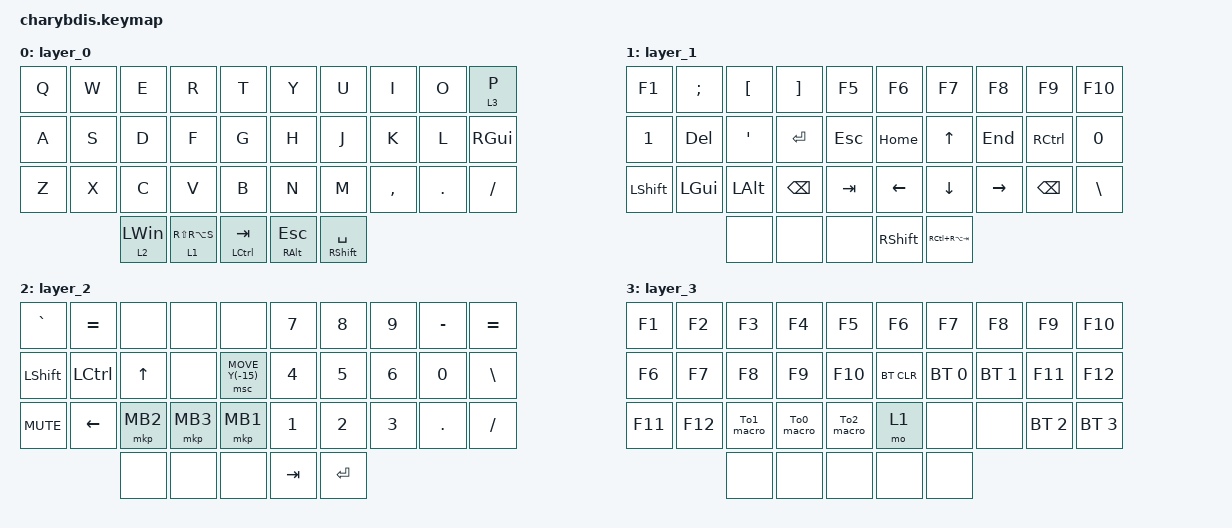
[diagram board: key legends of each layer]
#include <behaviors.dtsi>
#include <dt-bindings/zmk/bt.h>
#include <dt-bindings/zmk/keys.h>
#include <dt-bindings/zmk/pointing.h>
#include <dt-bindings/zmk/rgb.h>

&lt {
    tapping-term-ms = <200>;
    flavor = "balanced";
    quick-tap-ms = <150>;
};

/ {
    macros {
        To1_macro: To1_macro {
            compatible = "zmk,behavior-macro";
            label = "To1_macro";
            #binding-cells = <0>;
            bindings = <&rgb_ug RGB_EFF &rgb_ug RGB_COLOR_HSB(128,100,50) &to 1>;
        };

        To0_macro: To0_macro {
            compatible = "zmk,behavior-macro";
            label = "To0_macro";
            #binding-cells = <0>;
            bindings = <&rgb_ug RGB_EFR &to 0>;
        };

        To2_macro: To2_macro {
            compatible = "zmk,behavior-macro";
            label = "To2_macro";
            #binding-cells = <0>;
            bindings =
                <&to 0>,
                <&macro_wait_time 30>,
                <&rgb_ug RGB_COLOR_HSB(250,100,50)>;
        };
    };

    keymap {
        compatible = "zmk,keymap";

        layer_0 {
            bindings = <
&kp Q  &kp W  &kp E           &kp R            &kp T            &kp Y                 &kp U                  &kp I      &kp O    &lt 3 P
&kp A  &kp S  &kp D           &kp F            &kp G            &kp H                 &kp J                  &kp K      &kp L    &kp RIGHT_GUI
&kp Z  &kp X  &kp C           &kp V            &kp B            &kp N                 &kp M                  &kp COMMA  &kp DOT  &kp FSLH
              &lt 2 LEFT_WIN  &lt 1 RS(RA(S))  &mt LCTRL TAB    &mt RIGHT_ALT ESCAPE  &mt RIGHT_SHIFT SPACE
            >;
        };

        layer_1 {
            bindings = <
&kp F1          &kp SEMICOLON  &kp LEFT_BRACKET  &kp RIGHT_BRACKET  &kp F5        &kp F6           &kp F7           &kp F8           &kp F9         &kp F10
&kp N1          &kp DELETE     &kp SQT           &kp ENTER          &kp ESCAPE    &kp HOME         &kp UP_ARROW     &kp END          &kp RCTRL      &kp N0
&kp LEFT_SHIFT  &kp LEFT_GUI   &kp LEFT_ALT      &kp BACKSPACE      &kp TAB       &kp LEFT_ARROW   &kp DOWN_ARROW   &kp RIGHT_ARROW  &kp BACKSPACE  &kp BACKSLASH
                               &none             &none              &none         &kp RIGHT_SHIFT  &kp RC(RA(TAB))
            >;
        };

        layer_2 {
            bindings = <
&kp GRAVE       &kp EQUAL       &none         &none     &none               &kp N7        &kp N8        &kp N9        &kp MINUS   &kp EQUAL
&kp LEFT_SHIFT  &kp LCTRL       &kp UP_ARROW  &none     &msc MOVE_Y(-15)    &kp NUMBER_4  &kp N5        &kp NUMBER_6  &kp N0      &kp BACKSLASH
&kp K_MUTE      &kp LEFT_ARROW  &mkp MB2      &mkp MB3  &mkp MB1            &kp NUMBER_1  &kp NUMBER_2  &kp NUMBER_3  &kp PERIOD  &kp SLASH
                                &none         &none     &none               &kp TAB       &kp ENTER
            >;
        };

        layer_3 {
            bindings = <
&kp F1   &kp F2   &kp F3      &kp F4      &kp F5        &kp F6      &kp F7        &kp F8        &kp F9        &kp F10
&kp F6   &kp F7   &kp F8      &kp F9      &kp F10       &bt BT_CLR  &bt BT_SEL 0  &bt BT_SEL 1  &kp F11       &kp F12
&kp F11  &kp F12  &To1_macro  &To0_macro  &To2_macro    &mo 1       &none         &none         &bt BT_SEL 2  &bt BT_SEL 3
                  &none       &none       &none         &none       &none
            >;
        };

        /* layer_2 {
            bindings = <
&none  &none   &none    &none   &none         &none         &kp N1         &none         &none     &none  &none   &to 0
&none  &none   &none    &none   &none         &none         &none         &none          &rgb_ug RGB_BRD &rgb_ug RGB_BRI  &rgb_ug RGB_EFF   &rgb_ug RGB_TOG
&none  &none   &none    &none   &none         &none         &none         &mkp LCLK     &mkp RCLK  &none  &none   &none
&none  &none   &none    &none   &bt BT_NXT  &bt BT_CLR    &none         &none         &none     &none  &none   &none
                                   &none         &none         &none         &none         &none
                                                 &none         &none         &none
            >;
       
            
        };

       Mouse {
            bindings = <
&none        &none         &none         &none         &none      &none         &none       &none      &none         &none         &none         &none
&none        &bt BT_SEL 0  &bt BT_SEL 1  &bt BT_SEL 3  &none      &bt BT_CLR    &bt BT_CLR  &none      &bt BT_SEL 2  &bt BT_SEL 1  &bt BT_SEL 0  &none
&none        &trans        &trans        &mkp MCLK     &trans     &none         &none       &trans     &mkp MCLK     &trans        &trans        &none
&bootloader  &trans        &mkp RCLK     &mo 4         &mkp LCLK  &mo 5         &mo 5       &mkp LCLK  &mo 4         &mkp RCLK     &trans        &bootloader
                                         &mo 5         &mkp LCLK  &mkp RCLK     &mkp RCLK   &mkp LCLK
                                                       &none      &trans        &trans
            >;

            
        };

        layer_4 {
            bindings = <
&trans  &trans  &trans     &trans     &trans     &trans       &trans     &trans     &trans     &trans     &trans  &trans
&trans  &trans  &trans     &trans     &trans     &trans       &trans     &trans     &trans     &trans     &trans  &trans
&trans  &trans  &trans     &mkp MCLK  &trans     &trans       &trans     &trans     &mkp MCLK  &trans     &trans  &trans
&trans  &trans  &mkp RCLK  &trans     &mkp LCLK  &trans       &trans     &mkp LCLK  &trans     &mkp RCLK  &trans  &trans
                           &trans     &mkp LCLK  &mkp RCLK    &mkp RCLK  &mkp LCLK
                                      &trans     &trans       &trans
            >;
                
                
               
        };

        layer_5 {
            bindings = <
&trans  &trans  &trans     &trans     &trans     &trans       &trans     &trans     &trans     &trans     &trans  &trans
&trans  &trans  &trans     &trans     &trans     &trans       &trans     &trans     &trans     &trans     &trans  &trans
&trans  &trans  &trans     &mkp MCLK  &trans     &trans       &trans     &trans     &mkp MCLK  &trans     &trans  &trans
&trans  &trans  &mkp RCLK  &trans     &mkp LCLK  &trans       &trans     &mkp LCLK  &trans     &mkp RCLK  &trans  &trans
                           &trans     &mkp LCLK  &mkp RCLK    &mkp RCLK  &mkp LCLK
                                      &trans     &trans       &trans
            >;
                
                
        };*/
    };
};
